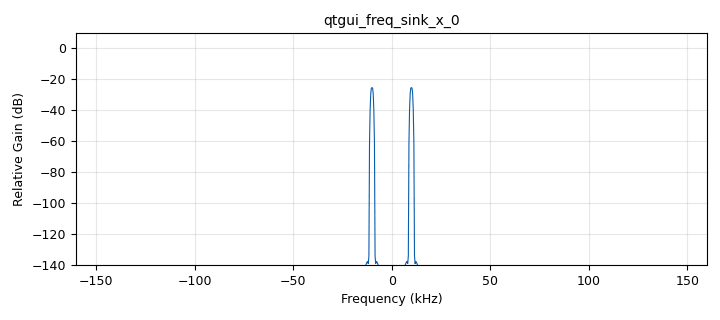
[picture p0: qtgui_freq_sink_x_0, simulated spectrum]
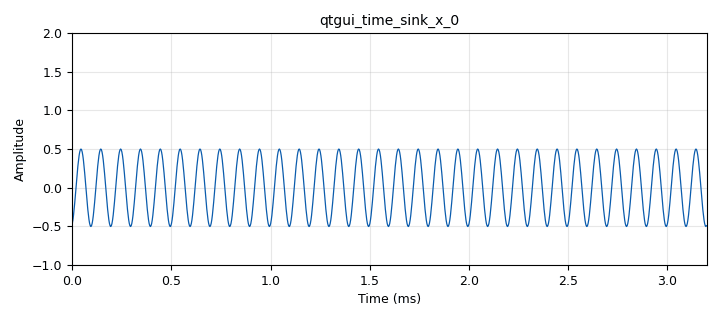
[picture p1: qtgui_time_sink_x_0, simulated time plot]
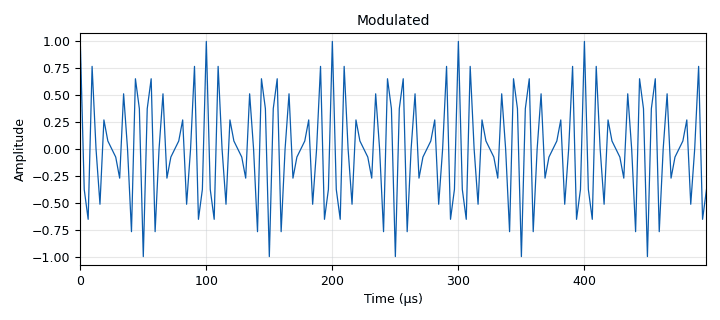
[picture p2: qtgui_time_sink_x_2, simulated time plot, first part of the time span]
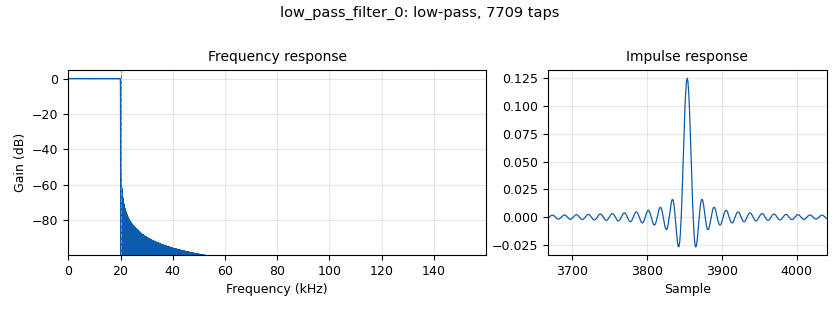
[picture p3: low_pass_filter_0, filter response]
options:
  parameters:
    author: shrut
    generate_options: qt_gui
    id: DSB_SC
    output_language: python
    title: Not titled yet
  states: {}

blocks:
- name: samp_rate
  id: variable
  parameters:
    value: '320000'
  states: {}
- name: analog_sig_source_x_0
  id: analog_sig_source_x
  parameters:
    amp: '1'
    freq: '100000'
    offset: '0'
    phase: '0'
    samp_rate: samp_rate
    type: float
    waveform: analog.GR_COS_WAVE
  states: {}
- name: analog_sig_source_x_1
  id: analog_sig_source_x
  parameters:
    amp: '1'
    freq: '10000'
    offset: '0'
    phase: '0'
    samp_rate: samp_rate
    type: float
    waveform: analog.GR_COS_WAVE
  states: {}
- name: analog_sig_source_x_2
  id: analog_sig_source_x
  parameters:
    amp: '1'
    freq: '100000'
    offset: '0'
    phase: '0'
    samp_rate: samp_rate
    type: float
    waveform: analog.GR_COS_WAVE
  states: {}
- name: blocks_multiply_xx_0
  id: blocks_multiply_xx
  parameters:
    type: float
  states: {}
- name: blocks_multiply_xx_1
  id: blocks_multiply_xx
  parameters:
    type: float
  states: {}
- name: low_pass_filter_0
  id: low_pass_filter
  parameters:
    cutoff_freq: '20000'
    decim: '1'
    gain: '1'
    samp_rate: samp_rate
    type: fir_filter_fff
    width: '100'
    win: window.WIN_HAMMING
  states: {}
- name: qtgui_freq_sink_x_0
  id: qtgui_freq_sink_x
  parameters:
    bw: samp_rate
    fc: '0'
    fftsize: '1024'
    type: float
    wintype: window.WIN_FLATTOP
  states: {}
- name: qtgui_time_sink_x_0
  id: qtgui_time_sink_x
  parameters:
    size: '1024'
    srate: samp_rate
    type: float
    ymax: '2'
  states: {}
- name: qtgui_time_sink_x_2
  id: qtgui_time_sink_x
  parameters:
    name: '"Modulated"'
    size: '1024'
    srate: samp_rate
    type: float
  states: {}

connections:
- [analog_sig_source_x_0, '0', blocks_multiply_xx_0, '1']
- [analog_sig_source_x_1, '0', blocks_multiply_xx_0, '0']
- [analog_sig_source_x_2, '0', blocks_multiply_xx_1, '1']
- [blocks_multiply_xx_0, '0', blocks_multiply_xx_1, '0']
- [blocks_multiply_xx_0, '0', qtgui_time_sink_x_2, '0']
- [blocks_multiply_xx_1, '0', low_pass_filter_0, '0']
- [low_pass_filter_0, '0', qtgui_freq_sink_x_0, '0']
- [low_pass_filter_0, '0', qtgui_time_sink_x_0, '0']

metadata:
  file_format: 1
  grc_version: 3.10.7.0
